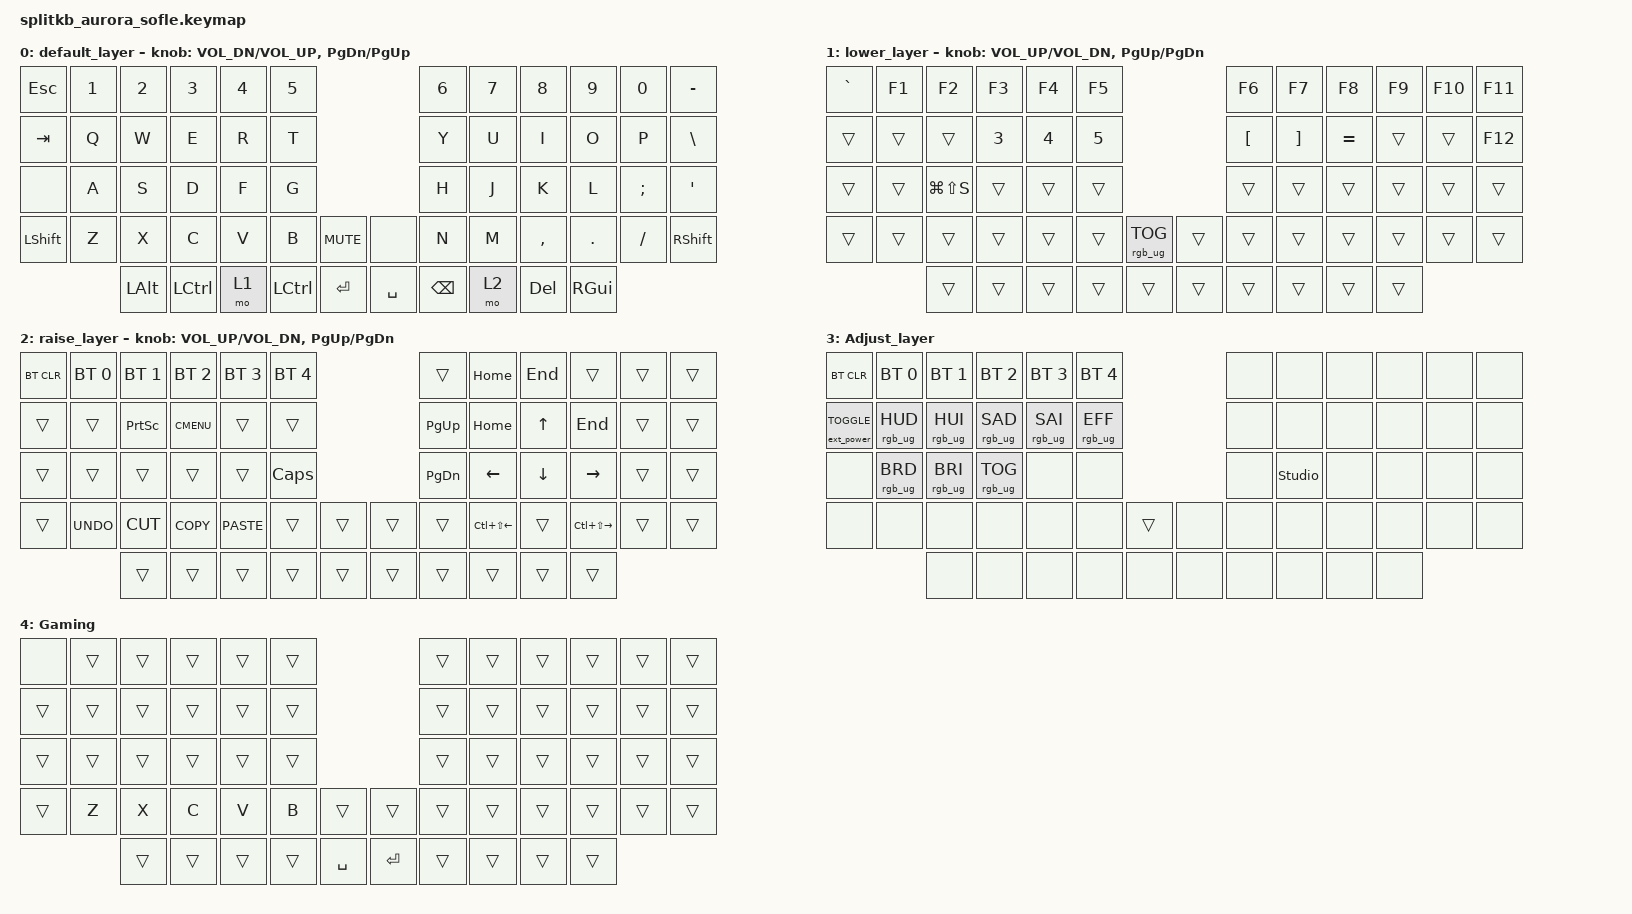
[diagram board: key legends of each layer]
/*
 * Copyright (c) 2020 The ZMK Contributors
 *
 * SPDX-License-Identifier: MIT
 */

#include <behaviors.dtsi>
#include <dt-bindings/zmk/bt.h>
#include <dt-bindings/zmk/ext_power.h>
#include <dt-bindings/zmk/keys.h>
#include <dt-bindings/zmk/rgb.h>

#define BASE 0
#define LOWER 1
#define RAISE 2
#define ADJUST 3

&led_strip {
    chain-length = <29>; // Uncomment if using only per-key LEDs.
};

/ {
    // Activate ADJUST layer by pressing raise and lower

    conditional_layers {
        compatible = "zmk,conditional-layers";

        adjust_layer {
            if-layers = <LOWER RAISE>;
            then-layer = <ADJUST>;
        };
    };

    combos {
        compatible = "zmk,combos";

        Gamemode {
            bindings = <&tog 4>;
            key-positions = <36 52>;
        };
    };

    behaviors {
        ht_tp: ht_tp {
            compatible = "zmk,behavior-hold-tap";
            label = "HT_TP";
            bindings = <&kp>, <&kp>;

            #binding-cells = <2>;
            tapping-term-ms = <200>;
        };
    };

    keymap {
        compatible = "zmk,keymap";

        default_layer {
            // ------------------------------------------------------------------------------------------------------------
            // |  `    |  1  |  2  |  3   |  4   |  5   |                   |  6   |  7    |  8    |  9   |   0   |       |
            // |  ESC  |  Q  |  W  |  E   |  R   |  T   |                   |  Y   |  U    |  I    |  O   |   P   | BKSPC |
            // |  TAB  |  A  |  S  |  D   |  F   |  G   |                   |  H   |  J    |  K    |  L   |   ;   |   '   |
            // | SHIFT |  Z  |  X  |  C   |  V   |  B   |  MUTE  |  |       |  N   |  M    |  ,    |  .   |   /   | SHIFT |
            //               | GUI | ALT  | CTRL | LOWER|  ENTER |  | SPACE | RAISE| CTRL  | ALT   | GUI  |

            bindings = <
&kp ESCAPE  &kp N1  &kp N2        &kp N3     &kp N4  &kp N5                                     &kp N6         &kp N7  &kp N8      &kp N9    &kp N0    &kp MINUS
&kp TAB     &kp Q   &kp W         &kp E      &kp R   &kp T                                      &kp Y          &kp U   &kp I       &kp O     &kp P     &kp BACKSLASH
&none       &kp A   &kp S         &kp D      &kp F   &kp G                                      &kp H          &kp J   &kp K       &kp L     &kp SEMI  &kp SQT
&kp LSHFT   &kp Z   &kp X         &kp C      &kp V   &kp B             &kp C_MUTE    &none      &kp N          &kp M   &kp COMMA   &kp DOT   &kp FSLH  &kp RSHFT
                    &kp LEFT_ALT  &kp LCTRL  &mo 1   &kp LEFT_CONTROL  &kp RET       &kp SPACE  &kp BACKSPACE  &mo 2   &kp DELETE  &kp RGUI
            >;

            sensor-bindings =
                <&inc_dec_kp C_VOL_DN C_VOL_UP>,
                <&inc_dec_kp PAGE_DOWN PAGE_UP>;
        };

        lower_layer {
            // TODO: Some binds are waiting for shifted keycode support.
            // ------------------------------------------------------------------------------------------------------------
            // |       |  F1 |  F2 |  F3  |  F4  |  F5  |                   |  F6  |  F7   |  F8   |  F9  |  F10  |  F11  |
            // | `     |   1 |   2 |   3  |   4  |   5  |                   |   6  |   7   |   8   |   9  |    0  |  F12  |
            // |       |  !  |  @  |  #   |  $   |  %   |                   |  ^   |  &    |  *    |  (   |   )   |   |   |
            // |       |  =  |  -  |  +   |  {   |  }   |        |  |       |  [   |  ]    |  ;    |  :   |   \   |       |
            //               |     |      |      |      |        |  |       |      |       |       |      |

            bindings = <
&kp GRAVE  &kp F1  &kp F2         &kp F3  &kp F4  &kp F5                             &kp F6            &kp F7             &kp F8     &kp F9  &kp F10  &kp F11
&trans     &trans  &trans         &kp N3  &kp N4  &kp N5                             &kp LEFT_BRACKET  &kp RIGHT_BRACKET  &kp EQUAL  &trans  &trans   &kp F12
&trans     &trans  &kp LG(LS(S))  &trans  &trans  &trans                             &trans            &trans             &trans     &trans  &trans   &trans
&trans     &trans  &trans         &trans  &trans  &trans  &rgb_ug RGB_TOG    &trans  &trans            &trans             &trans     &trans  &trans   &trans
                   &trans         &trans  &trans  &trans  &trans             &trans  &trans            &trans             &trans     &trans
            >;

            sensor-bindings = <&inc_dec_kp C_VOL_UP C_VOL_DN &inc_dec_kp PG_UP PG_DN>;
        };

        raise_layer {
            // ------------------------------------------------------------------------------------------------------------
            // |BTCLR| BT1  | BT2  |  BT3  |  BT4  |  BT5 |                |      |      |       |      |       |       |
            // |     | INS  | PSCR | GUI   |       |      |                | PGUP |      |   ^   |      |       |       |
            // |     | ALT  | CTRL | SHIFT |       | CAPS |                | PGDN |   <- |   v   |  ->  |  DEL  | BKSPC |
            // |     | UNDO | CUT  | COPY  | PASTE |      |      |  |      |      |      |       |      |       |       |
            //              |      |       |       |      |      |  |      |      |      |       |      |

            bindings = <
&bt BT_CLR  &bt BT_SEL 0  &bt BT_SEL 1  &bt BT_SEL 2  &bt BT_SEL 3  &bt BT_SEL 4                    &trans     &kp HOME                &kp END   &trans                   &trans  &trans
&trans      &trans        &kp PSCRN     &kp K_CMENU   &trans        &trans                          &kp PG_UP  &kp HOME                &kp UP    &kp END                  &trans  &trans
&trans      &trans        &trans        &trans        &trans        &kp CLCK                        &kp PG_DN  &kp LEFT                &kp DOWN  &kp RIGHT                &trans  &trans
&trans      &kp K_UNDO    &kp K_CUT     &kp K_COPY    &kp K_PASTE   &trans        &trans    &trans  &trans     &kp LC(LS(LEFT_ARROW))  &trans    &kp LC(LS(RIGHT_ARROW))  &trans  &trans
                          &trans        &trans        &trans        &trans        &trans    &trans  &trans     &trans                  &trans    &trans
            >;

            sensor-bindings = <&inc_dec_kp C_VOL_UP C_VOL_DN &inc_dec_kp PG_UP PG_DN>;
        };

        // ------------------------------------------------------------------------------------------------------------
        // |BTCLR | BT1   | BT2   |  BT3  |  BT4  |  BT5  |                |      |      |       |      |       |       |
        // |EXTPWR|RGB_HUD|RGB_HUI|RGB_SAD|RGB_SAI|RGB_EFF|                |      |      |       |      |       |       |
        // |      |RGB_BRD|RGB_BRI|       |       |       |                |      |      |       |      |       |       |
        // |      |       |       |       |       |       |RGB_TOG| |      |      |      |       |      |       |       |
        //                |       |       |       |       |       | |      |      |      |       |      |

        Adjust_layer {
            bindings = <
&bt BT_CLR                       &bt BT_SEL 0     &bt BT_SEL 1     &bt BT_SEL 2     &bt BT_SEL 3     &bt BT_SEL 4                      &none  &none           &none  &none  &none  &none
&ext_power EXT_POWER_TOGGLE_CMD  &rgb_ug RGB_HUD  &rgb_ug RGB_HUI  &rgb_ug RGB_SAD  &rgb_ug RGB_SAI  &rgb_ug RGB_EFF                   &none  &none           &none  &none  &none  &none
&none                            &rgb_ug RGB_BRD  &rgb_ug RGB_BRI  &rgb_ug RGB_TOG  &none            &none                             &none  &studio_unlock  &none  &none  &none  &none
&none                            &none            &none            &none            &none            &none            &trans    &none  &none  &none           &none  &none  &none  &none
                                                  &none            &none            &none            &none            &none     &none  &none  &none           &none  &none
            >;
        };

        Gaming {
            bindings = <
&none   &trans  &trans  &trans  &trans  &trans                           &trans  &trans  &trans  &trans  &trans  &trans
&trans  &trans  &trans  &trans  &trans  &trans                           &trans  &trans  &trans  &trans  &trans  &trans
&trans  &trans  &trans  &trans  &trans  &trans                           &trans  &trans  &trans  &trans  &trans  &trans
&trans  &kp Z   &kp X   &kp C   &kp V   &kp B   &trans       &trans      &trans  &trans  &trans  &trans  &trans  &trans
                &trans  &trans  &trans  &trans  &kp SPACE    &kp RETURN  &trans  &trans  &trans  &trans
            >;
        };
    };
};
